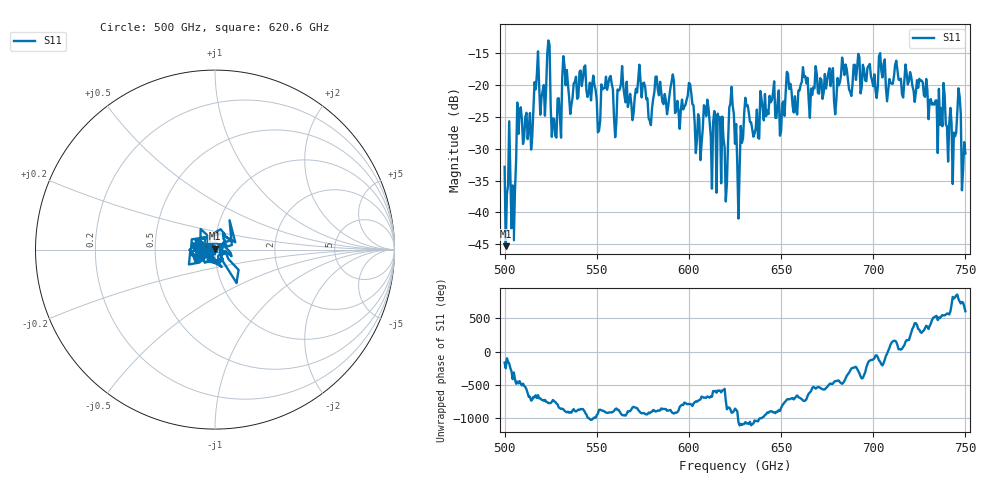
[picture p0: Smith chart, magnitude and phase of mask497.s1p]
!Created with skrf (http://scikit-rf.org).
# GHz S MA R 50.0
!freq magS11 angS11
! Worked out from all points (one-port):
!   401 points, 500 GHz to 750 GHz, reference 50 ohm
!   lowest |S11| = -45.3 dB at 500.6 GHz (marker M1), VSWR 1.01, Z = 49.8 + j0.517 ohm
!   |S11| at or under -10 dB: start of sweep to end of sweep
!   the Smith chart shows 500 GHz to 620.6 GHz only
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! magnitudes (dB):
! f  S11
! 500 GHz  -32.9
! 500.6 GHz  -45.3
! 505 GHz  -44.4
! 508.1 GHz  -24.5
! 513.8 GHz  -24.4
! 517.5 GHz  -18.4
! 520.6 GHz  -21.0
! 523.8 GHz  -13.1
! 526.9 GHz  -25.4
! 531.2 GHz  -18.9
! 542.5 GHz  -19.0
! 550.6 GHz  -27.5
! 562.5 GHz  -20.7
! 593.8 GHz  -22.5
! 600.6 GHz  -19.9
! 605 GHz  -24.6
! 609.4 GHz  -24.9
! 620 GHz  -38.3
! 623.1 GHz  -20.3
! 625 GHz  -29.2
! 627.5 GHz  -33.2
! 631.2 GHz  -23.4
! 656.2 GHz  -23.3
! 687.5 GHz  -21.1
! 718.8 GHz  -20.0
! 741.9 GHz  -23.6
! 746.2 GHz  -20.6
! 750 GHz  -30.8
